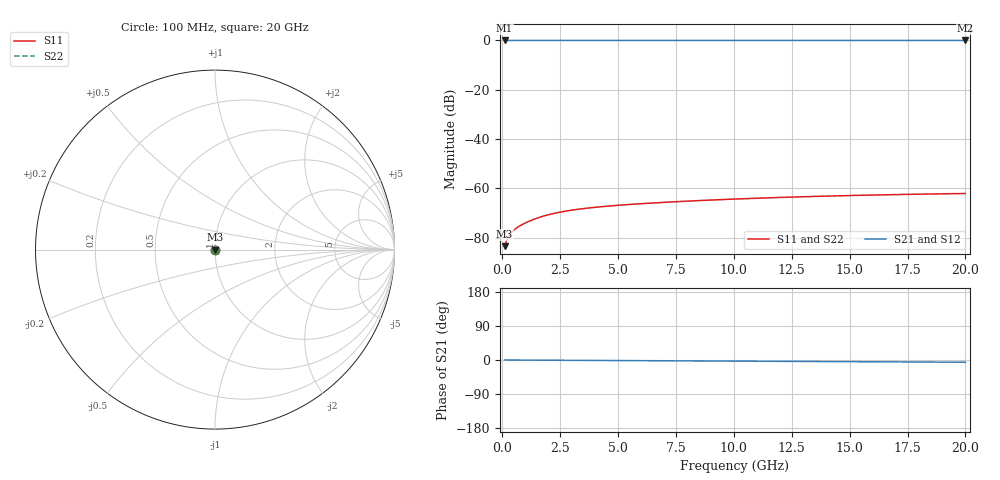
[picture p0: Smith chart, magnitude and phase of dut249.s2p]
! Touchstone file exported from HFSS 2026.1.0
!  File:  C:/ffzhzh/LocalFiles/Ansys_Project_Files/temp_train_TSV_249_1782992804_40604.aedt
!  Generated:  07:48:11 PM Jul  2, 2026
!  Design:  TSV
!  Project:  temp_train_TSV_249_1782992804_40604
! Variables:
!  h_bsmrdl = 2um
!  h_ox = 20um
!  h_rdl = 5um
!  h_sub = 53.65um
!  h_tmrdl = 5um
!  h_tsv = 53.65um
!  h_via = 3um
!  l_bsmrdl = 300um
!  l_sub = 427.7um
!  l_tmrdl = 200um
!  m_sub = 200um
!  pitch = 54.63um
!  r_tsv = 13.85um
!  s_tmrdl = 10um
!  w_bsmrdl = 18um
!  w_sub = 500um
!  w_tmrdl = 12um
!  x_tsv_center1 = 206um
!  x_tsv_center2 = 524um
!  x_tsv_center3 = 736um
!  x_tsv_center4 = 1054um
!  x_tsv_center5 = 1266um
!  x_tsv_center6 = 1584um
# GHz S MA R 50.000000
! Terminal data exported
! Port[1] = TSV1_1_T1
! Port[2] = TSV1_1_T2
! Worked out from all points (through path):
!   200 points, 100 MHz to 20 GHz, reference 50 ohm
!   highest |S21| = 0.00 dB at 100 MHz (marker M1); lowest = 0.0 dB at 20 GHz (marker M2)
!   lowest |S11| = -83.4 dB at 100 MHz (marker M3), VSWR 1.00, Z = 50 + j0.00299 ohm
!   |S11| at or under -10 dB: start of sweep to end of sweep
!   |S22| runs from -83.4 to -62.1 dB; largest |S21 - S12| = 1e-15
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0.1  6.756e-05 26.2  0.9999 -0.0  0.9999 -0.0  6.756e-05 26.2
! Gamma 0 0 0 0
! Port Impedance 50 0 50 0
0.2  9.036e-05 36.4  0.9999 -0.1  0.9999 -0.1  9.032e-05 36.3
0.3  0.0001115 39.2  0.9999 -0.1  0.9999 -0.1  0.0001112 39.1
0.4  0.0001288 40.1  0.9999 -0.1  0.9999 -0.1  0.0001284 40.0
0.5  0.0001433 40.5  0.9999 -0.2  0.9999 -0.2  0.0001427 40.5
0.6  0.000156 40.9  0.9999 -0.2  0.9999 -0.2  0.0001553 40.9
0.7  0.0001677 41.3  0.9999 -0.2  0.9999 -0.2  0.000167 41.4
1  0.0002 42.5  0.9998 -0.3  0.9998 -0.3  0.0001995 42.6
1.2  0.0002205 42.9  0.9998 -0.4  0.9998 -0.4  0.0002201 43.0
1.4  0.0002401 43.0  0.9998 -0.4  0.9998 -0.4  0.0002399 43.1
1.8  0.0002767 42.5  0.9998 -0.5  0.9998 -0.5  0.0002768 42.6
2.3  0.0003167 41.2  0.9997 -0.7  0.9997 -0.7  0.0003169 41.3
2.9  0.0003569 39.4  0.9997 -0.9  0.9997 -0.9  0.0003571 39.4
3.5  0.0003902 37.7  0.9997 -1.0  0.9997 -1.0  0.0003904 37.7
4.1  0.0004186 36.2  0.9997 -1.2  0.9997 -1.2  0.0004187 36.2
4.9  0.0004515 34.5  0.9996 -1.5  0.9996 -1.5  0.0004515 34.5
6.8  0.0005169 31.6  0.9996 -2.0  0.9996 -2.0  0.0005168 31.6
8.4  0.0005649 29.4  0.9995 -2.5  0.9995 -2.5  0.0005648 29.4
10.1  0.0006111 27.1  0.9995 -3.0  0.9995 -3.0  0.000611 27.1
13.4  0.0006874 22.5  0.9994 -3.9  0.9994 -3.9  0.0006872 22.5
16.7  0.0007466 17.7  0.9993 -4.9  0.9993 -4.9  0.0007462 17.7
20  0.0007903 13.0  0.9993 -5.9  0.9993 -5.9  0.0007897 13.1
